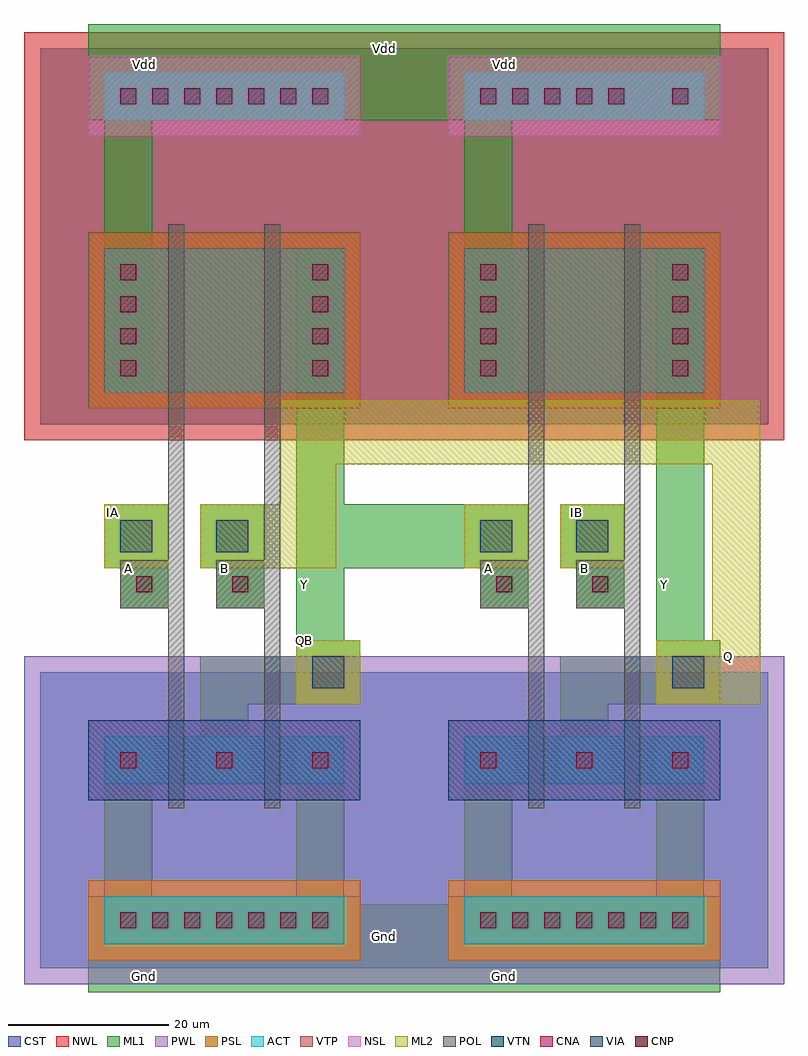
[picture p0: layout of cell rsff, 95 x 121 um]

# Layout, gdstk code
import gdstk
lib = gdstk.Library(unit=1e-6, precision=1e-09)
def R(c, l, rs):  # rectangles x0, y0, x1, y1
    for r in rs: c.add(gdstk.rectangle(r[:2], r[2:], *l))
def A(c, l, x, y, w, h, nx, ny, dx, dy):  # array of equal rectangles
    R(c, l, [(x+i*dx, y+j*dy, x+i*dx+w, y+j*dy+h) for i in range(nx) for j in range(ny)])
NWL = (1, 0)
PWL = (2, 0)
CST = (3, 0)
ACT = (4, 0)
VTN = (5, 0)
VTP = (6, 0)
POL = (7, 0)
NSL = (8, 0)
PSL = (9, 0)
CNA = (10, 0)
CNP = (11, 0)
ML1 = (12, 0)
VIA = (13, 0)
ML2 = (14, 0)

rsff = lib.new_cell('rsff')
R(rsff, NWL, [(-8,69,42,120), (37,69,87,120)])
R(rsff, PWL, [(-8,1,42,42), (37,1,87,42)])
R(rsff, CST, [(-6,3,40,40), (39,3,85,40), (-6,71,40,118), (39,71,85,118)])
R(rsff, ACT, [(2,6,32,12), (47,6,77,12), (2,26,32,32), (47,26,77,32), (2,75,32,93), (47,75,77,93), (2,109,32,115), (47,109,77,115)])
R(rsff, VTN, [(0,24,34,34), (45,24,79,34)])
R(rsff, VTP, [(0,73,34,95), (45,73,79,95)])
R(rsff, POL, [(10,23,12,96), (22,23,24,96), (55,23,57,96), (67,23,69,96), (4,48,10,54), (16,48,22,54), (49,48,55,54), (61,48,67,54)])
R(rsff, NSL, [(0,24,34,34), (45,24,79,34), (0,107,34,117), (45,107,79,117)])
R(rsff, PSL, [(0,4,34,14), (45,4,79,14), (0,73,34,95), (45,73,79,95)])
A(rsff, CNA, 4, 8, 2, 2, 7, 2, 4, 103)
A(rsff, CNA, 49, 8, 2, 2, 7, 1, 4, 0)
A(rsff, CNA, 4, 28, 2, 2, 3, 1, 12, 0)
A(rsff, CNA, 49, 28, 2, 2, 3, 1, 12, 0)
A(rsff, CNA, 4, 77, 2, 2, 1, 4, 0, 4)
A(rsff, CNA, 28, 77, 2, 2, 1, 4, 0, 4)
A(rsff, CNA, 49, 77, 2, 2, 1, 4, 0, 4)
A(rsff, CNA, 73, 77, 2, 2, 1, 4, 0, 4)
A(rsff, CNA, 49, 111, 2, 2, 4, 1, 4, 0)
R(rsff, CNA, [(61,111,63,113), (65,111,67,113), (73,111,75,113)])
R(rsff, CNP, [(6,50,8,52), (18,50,20,52), (51,50,53,52), (63,50,65,52)])
R(rsff, ML1, [(0,0,34,12), (34,0,45,11), (45,0,79,12), (2,12,8,32), (26,12,32,32), (47,12,53,32), (71,12,77,32), (14,26,20,36), (59,26,65,36), (14,36,26,42), (26,36,34,44), (26,36,32,93), (59,36,71,42), (71,36,79,44), (71,36,77,93), (4,48,10,54), (16,48,22,54), (49,48,55,54), (61,48,67,54), (2,53,10,61), (14,53,22,61), (32,53,47,61), (47,53,55,61), (59,53,67,61), (2,75,8,109), (47,75,53,109), (0,109,34,121), (33,109,45,121), (45,109,79,121)])
R(rsff, VIA, [(28,38,32,42), (73,38,77,42), (4,55,8,59), (16,55,20,59), (49,55,53,59), (61,55,65,59)])
R(rsff, ML2, [(26,36,34,44), (71,36,79,44), (78,36,84,74), (2,53,10,61), (14,53,22,61), (22,53,31,61), (47,53,55,61), (59,53,67,61), (24,60,31,74), (29,66,80,74)])
rsff.add(gdstk.Label('Vdd', (37,118), layer=12, texttype=0))
rsff.add(gdstk.Label('IB', (61,60), layer=12, texttype=0))
rsff.add(gdstk.Label('QB', (27,44), layer=12, texttype=0))
rsff.add(gdstk.Label('A', (50,53), layer=12, texttype=0))
rsff.add(gdstk.Label('Gnd', (52,2), layer=12, texttype=0))
rsff.add(gdstk.Label('Vdd', (52,116), layer=12, texttype=0))
rsff.add(gdstk.Label('A', (5,53), layer=12, texttype=0))
rsff.add(gdstk.Label('B', (17,53), layer=12, texttype=0))
rsff.add(gdstk.Label('Gnd', (7,2), layer=12, texttype=0))
rsff.add(gdstk.Label('Y', (27,51), layer=12, texttype=0))
rsff.add(gdstk.Label('Vdd', (7,116), layer=12, texttype=0))
rsff.add(gdstk.Label('Y', (72,51), layer=12, texttype=0))
rsff.add(gdstk.Label('B', (62,53), layer=12, texttype=0))
rsff.add(gdstk.Label('IA', (3,60), layer=12, texttype=0))
rsff.add(gdstk.Label('Gnd', (37,7), layer=12, texttype=0))
rsff.add(gdstk.Label('Q', (80,42), layer=14, texttype=0))

lib.write_gds('rsff.gds')
